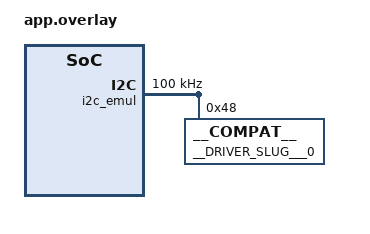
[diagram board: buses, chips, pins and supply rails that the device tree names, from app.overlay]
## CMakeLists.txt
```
cmake_minimum_required(VERSION 3.20.0)
find_package(Zephyr REQUIRED HINTS $ENV{ZEPHYR_BASE})
project(__MODULE_NAME___public_mock_test)

file(GLOB app_sources src/*.c)
target_sources(app PRIVATE ${app_sources})

zephyr_include_directories(${CMAKE_CURRENT_SOURCE_DIR}/../../drivers/__SUBSYS__/__DRIVER_SLUG__)
```

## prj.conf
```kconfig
CONFIG_ZTEST=y
CONFIG___KCONFIG_SYM__=y
CONFIG___KCONFIG_SYM___BACKEND_PUBLIC_MOCK=y
```

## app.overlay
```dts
/ {
	soc {
		i2c_emul: i2c@100 {
			compatible = "zephyr,i2c-emul-controller";
			reg = <0x100 4>;
			#address-cells = <1>;
			#size-cells = <0>;
			clock-frequency = <100000>;
			status = "okay";

			__DRIVER_SLUG___0: __DRIVER_SLUG___0@48 {
				compatible = "__COMPAT__";
				reg = <0x48>;
				status = "okay";
			};
		};
	};
};
```

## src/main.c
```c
/*
 * Integration tests for the __DRIVER_SLUG__ driver with the public-mock backend.
 *
 * This suite builds without the device library and is safe for CI and repos
 * without NDA library access.
 */

#include <zephyr/device.h>
#include <zephyr/ztest.h>

#include "__DRIVER_SLUG__.h"

ZTEST(__DRIVER_SLUG___public_mock, test_boot)
{
	/* Placeholder: remove once real integration tests are added. */
	zassert_true(true);
}

ZTEST_SUITE(__DRIVER_SLUG___public_mock, NULL, NULL, NULL, NULL, NULL);
```
